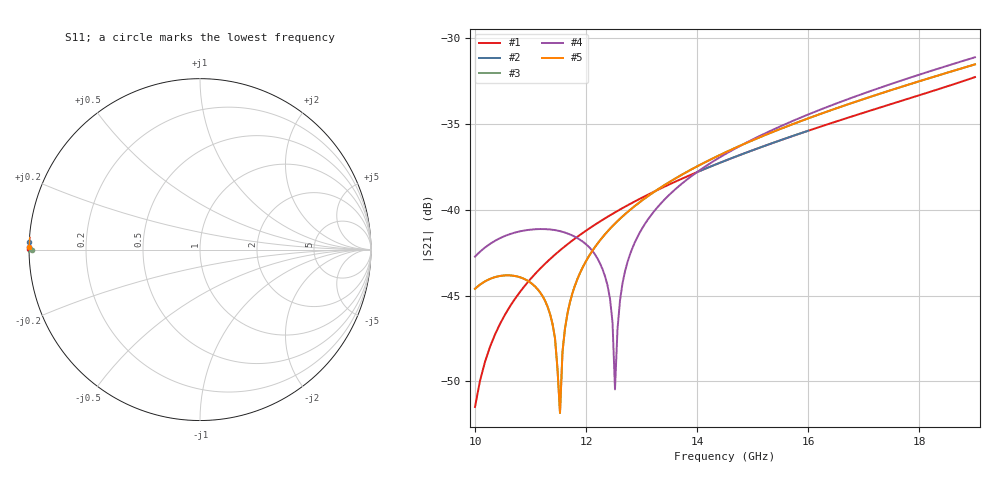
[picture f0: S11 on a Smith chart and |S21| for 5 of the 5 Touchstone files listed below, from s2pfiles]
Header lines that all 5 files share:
! Variables:
!Data is not renormalized
# GHz S RI
! Terminal data exported
Fixed: iris_radius = 0.0705in, iris_width = 0.04in, rwg_a = 0.622in, rwg_b = 0.311in, rwg_length = 0.3in
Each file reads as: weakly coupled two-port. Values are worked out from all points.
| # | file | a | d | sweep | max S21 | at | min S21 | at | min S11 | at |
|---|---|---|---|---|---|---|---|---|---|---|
| 1 | case2a_cwgrwg_transition.s2p | 0.35in | 3.5in | 10 GHz to 19 GHz | -32.26 dB | 19 GHz | -51.5 dB | 10 GHz | 0.0 dB | 19 GHz |
| 2 | case2a_rwgcwg_transition.s2p | 0.35in | 3.5in | 14 GHz to 16 GHz | -35.38 dB | 16 GHz | -37.8 dB | 14 GHz | 0.0 dB | 16 GHz |
| 3 | Kratos_cwgII2rwg_transition.s2p | 0.3in | 2.99in | 10 GHz to 19 GHz | -31.52 dB | 19 GHz | -51.8 dB | 11.53 GHz | -0.1 dB | 11.53 GHz |
| 4 | Kratos_rwg2cwgI_transition.s2p | 0.276in | 2.99in | 10 GHz to 19 GHz | -31.10 dB | 19 GHz | -50.5 dB | 12.52 GHz | 0.0 dB | 19 GHz |
| 5 | Kratos_rwg2cwgII_transition.s2p | 0.3in | 2.99in | 10 GHz to 19 GHz | -31.52 dB | 19 GHz | -51.8 dB | 11.53 GHz | 0.0 dB | 19 GHz |
